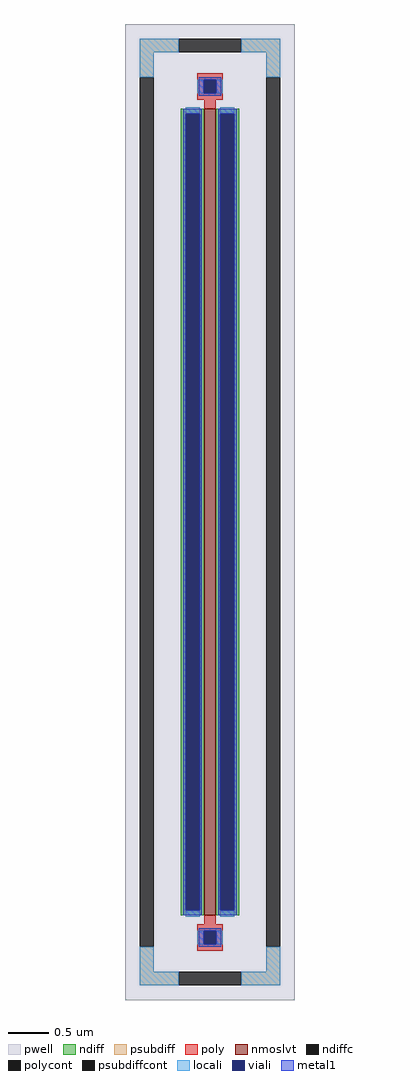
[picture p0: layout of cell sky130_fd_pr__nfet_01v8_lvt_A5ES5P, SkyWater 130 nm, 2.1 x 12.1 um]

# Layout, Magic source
magic
tech sky130A
<< pwell >>
rect -105 -605 105 605
<< nmoslvt >>
rect -7 -500 7 500
<< ndiff >>
rect -36 494 -7 500
rect -36 -494 -30 494
rect -13 -494 -7 494
rect -36 -500 -7 -494
rect 7 494 36 500
rect 7 -494 13 494
rect 30 -494 36 494
rect 7 -500 36 -494
<< ndiffc >>
rect -30 -494 -13 494
rect 13 -494 30 494
<< psubdiff >>
rect -87 570 -39 587
rect 39 570 87 587
rect -87 539 -70 570
rect 70 539 87 570
rect -87 -570 -70 -539
rect 70 -570 87 -539
rect -87 -587 -39 -570
rect 39 -587 87 -570
<< psubdiffcont >>
rect -39 570 39 587
rect -87 -539 -70 539
rect 70 -539 87 539
rect -39 -587 39 -570
<< poly >>
rect -16 536 16 544
rect -16 519 -8 536
rect 8 519 16 536
rect -16 511 16 519
rect -7 500 7 511
rect -7 -511 7 -500
rect -16 -519 16 -511
rect -16 -536 -8 -519
rect 8 -536 16 -519
rect -16 -544 16 -536
<< polycont >>
rect -8 519 8 536
rect -8 -536 8 -519
<< locali >>
rect -87 570 -39 587
rect 39 570 87 587
rect -87 539 -70 570
rect 70 539 87 570
rect -16 519 -8 536
rect 8 519 16 536
rect -30 494 -13 502
rect -30 -502 -13 -494
rect 13 494 30 502
rect 13 -502 30 -494
rect -16 -536 -8 -519
rect 8 -536 16 -519
rect -87 -570 -70 -539
rect 70 -570 87 -539
rect -87 -587 -39 -570
rect 39 -587 87 -570
<< viali >>
rect -8 519 8 536
rect -30 -494 -13 494
rect 13 -494 30 494
rect -8 -536 8 -519
<< metal1 >>
rect -14 536 14 539
rect -14 519 -8 536
rect 8 519 14 536
rect -14 516 14 519
rect -33 494 -10 500
rect -33 -494 -30 494
rect -13 -494 -10 494
rect -33 -500 -10 -494
rect 10 494 33 500
rect 10 -494 13 494
rect 30 -494 33 494
rect 10 -500 33 -494
rect -14 -519 14 -516
rect -14 -536 -8 -519
rect 8 -536 14 -519
rect -14 -539 14 -536
<< properties >>
string FIXED_BBOX -79 -578 79 578
string gencell sky130_fd_pr__nfet_01v8_lvt
string library sky130
string parameters w 10.0 l 0.15 m 1 nf 1 diffcov 100 polycov 100 guard 1 glc 1 grc 1 gtc 1 gbc 1 tbcov 100 rlcov 100 topc 1 botc 1 poverlap 0 doverlap 1 lmin 0.15 wmin 0.42 compatible {sky130_fd_pr__nfet_01v8 sky130_fd_pr__nfet_01v8_lvt  sky130_fd_bs_flash__special_sonosfet_star  sky130_fd_pr__nfet_g5v0d10v5 sky130_fd_pr__nfet_05v0_nvt  sky130_fd_pr__nfet_03v3_nvt} full_metal 1 viasrc 100 viadrn 100 viagate 100 viagb 0 viagr 0 viagl 0 viagt 0
<< end >>
